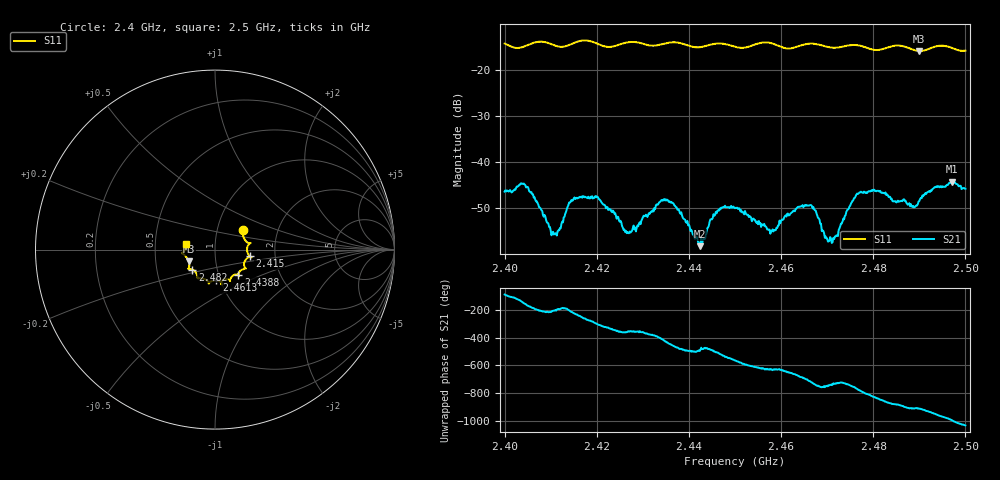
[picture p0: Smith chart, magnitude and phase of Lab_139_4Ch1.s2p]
# Hz S RI R 50
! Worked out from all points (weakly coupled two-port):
!   601 points, 2.4 GHz to 2.5 GHz, reference 50 ohm
!   highest |S21| = -44.19 dB at 2.4972 GHz (marker M1); lowest = -58.2 dB at 2.4423 GHz (marker M2)
!   lowest |S11| = -15.9 dB at 2.49 GHz (marker M3), VSWR 1.38, Z = 36.9 - j4.88 ohm
!   |S11| at or under -10 dB: start of sweep to end of sweep
!   S12 and S22 are empty: the file has one direction only
!   S11 on the Smith chart (normalised r, x): 2.4 GHz: 1.33, +0.31; 2.415 GHz: 1.47, -0.11; 2.4388 GHz: 1.24, -0.36; 2.4613 GHz: 0.96, -0.34; 2.482 GHz: 0.76, -0.17; 2.5 GHz: 0.72, +0.05
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2.4e9  0.1581 0.1118  0.000192 -0.0048  0 0  0 0
2.404667e9  0.1784 0.0411  -0.00502 -0.00179  0 0  0 0
2.410667e9  0.1845 0.0241  -0.00151 0.000666  0 0  0 0
2.415e9  0.1923 -0.0364  -0.003 0.00272  0 0  0 0
2.416667e9  0.2033 -0.044  -0.00145 0.00399  0 0  0 0
2.420167e9  0.1877 -0.043  0.00227 0.00355  0 0  0 0
2.427e9  0.171 -0.1047  0.00169 0.000169  0 0  0 0
2.433333e9  0.1324 -0.1315  0.00278 -0.00212  0 0  0 0
2.438833e9  0.1297 -0.1407  -0.00145 -0.00196  0 0  0 0
2.442333e9  0.0963 -0.148  -0.000892 -0.000845  0 0  0 0
2.446333e9  0.0843 -0.1745  -0.00255 -0.00159  0 0  0 0
2.45e9  0.0689 -0.1649  -0.00289 0.00129  0 0  0 0
2.457833e9  0.038 -0.1919  3.05e-05 0.00181  0 0  0 0
2.461333e9  0.00772 -0.171  0.000968 0.00258  0 0  0 0
2.466667e9  -0.0349 -0.19  0.00336 -0.000243  0 0  0 0
2.470667e9  -0.05 -0.1684  0.00144 -0.000547  0 0  0 0
2.476667e9  -0.0964 -0.1585  0.00263 -0.00367  0 0  0 0
2.482e9  -0.1257 -0.1116  -0.00323 -0.00338  0 0  0 0
2.483333e9  -0.1395 -0.1089  -0.00366 -0.00205  0 0  0 0
2.49e9  -0.147 -0.0645  -0.00368 0.000922  0 0  0 0
2.497167e9  -0.1727 -0.00964  0.00101 0.00609  0 0  0 0
2.5e9  -0.1588 0.0326  0.00366 0.00364  0 0  0 0
